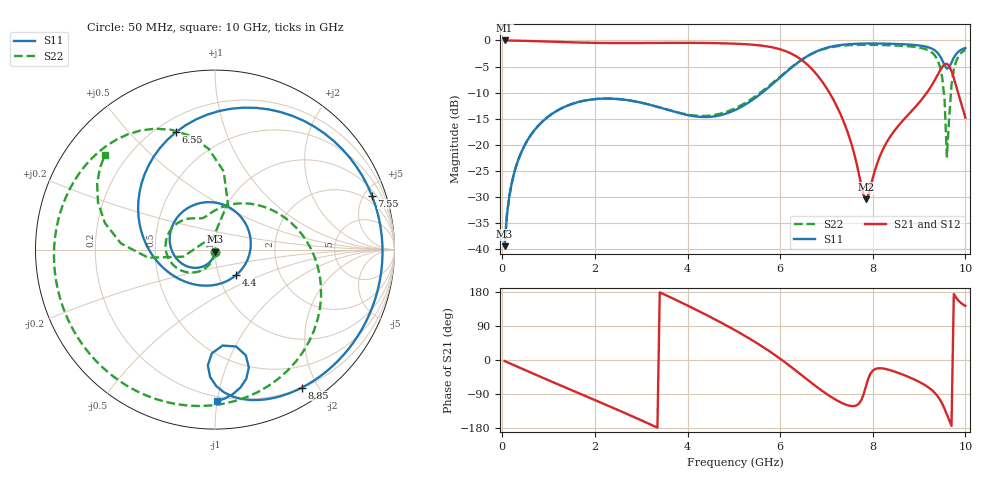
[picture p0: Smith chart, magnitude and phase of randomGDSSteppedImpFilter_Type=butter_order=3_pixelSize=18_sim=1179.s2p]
! freq	dB(S11)	phase(S11)	dB(S12)	phase(S12)
!  dB(S21)	phase(S21)	dB(S22)	phase(S22)
!S-par simulation data
#  GHz  S  DB  R 50
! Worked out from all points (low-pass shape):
!   200 points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, 50 MHz to 10 GHz, reference 50 ohm
!   highest |S21| = 0.00 dB at 50 MHz (marker M1); lowest = -30.5 dB at 7.85 GHz (marker M2)
!   |S21| within 3 dB of the highest: start of sweep to 6.34 GHz
!   lowest |S11| = -39.4 dB at 50 MHz (marker M3), VSWR 1.02, Z = 49.9 - j1.06 ohm
!   |S11| at or under -10 dB: start of sweep to 5.614 GHz
!   |S22| runs from -39.4 to -0.8 dB; largest |S21 - S12| = 0
!   S11 on the Smith chart (normalised r, x): 50 MHz: 1.00, -0.02; 4.4 GHz: 1.21, -0.35; 6.55 GHz: 0.27, +0.69; 7.55 GHz: 1.36, +5.65; 8.85 GHz: 0.20, -1.79; 10 GHz: 0.17, -1.00
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0.05  -39.44 -92.6  -0.00 -2.7  -0.00 -2.7  -39.44 -92.0
0.2  -27.51 -102.3  -0.03 -10.9  -0.03 -10.9  -27.50 -99.5
0.5  -19.82 -121.1  -0.08 -27.0  -0.08 -27.0  -19.81 -114.0
1.75  -11.58 162.4  -0.42 -92.8  -0.42 -92.8  -11.58 -169.4
2.5  -11.23 113.7  -0.50 -132.1  -0.50 -132.1  -11.24 160.9
3.4  -12.86 45.6  -0.47 178.6  -0.47 178.6  -12.85 131.1
4.4  -14.69 -49.9  -0.49 119.3  -0.49 119.3  -14.46 108.6
5.05  -13.25 -114.2  -0.63 76.9  -0.63 76.9  -12.91 86.4
5.85  -8.25 175.1  -1.36 16.3  -1.36 16.3  -8.04 32.3
6.55  -3.22 108.3  -4.35 -48.2  -4.35 -48.2  -3.21 -34.2
6.7  -2.46 93.3  -5.63 -62.6  -5.63 -62.6  -2.48 -49.2
7.1  -1.19 55.4  -10.57 -97.5  -10.57 -97.5  -1.31 -86.9
7.55  -0.68 19.0  -20.16 -121.6  -20.16 -121.6  -0.88 -123.0
7.85  -0.60 -1.6  -30.47 -70.0  -30.47 -70.0  -0.84 -143.9
8.35  -0.63 -31.3  -18.81 -25.9  -18.81 -25.9  -0.92 -175.1
8.85  -0.83 -57.8  -13.43 -48.8  -13.43 -48.8  -1.19 154.0
9.25  -1.47 -80.1  -8.94 -76.8  -8.94 -76.8  -2.13 122.0
9.45  -2.97 -92.2  -5.82 -104.4  -5.82 -104.4  -5.00 93.6
9.55  -4.75 -91.8  -4.57 -128.6  -4.57 -128.6  -11.37 74.6
9.6  -5.41 -85.5  -4.47 -143.6  -4.47 -143.6  -22.28 94.3
9.75  -3.31 -74.0  -7.21 174.2  -7.21 174.2  -5.60 176.3
10  -1.47 -89.2  -14.81 142.9  -14.81 142.9  -1.83 139.2
